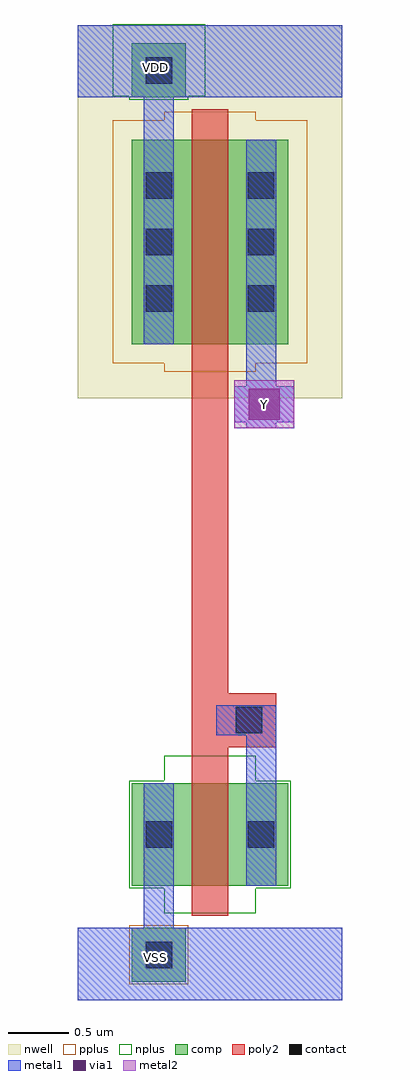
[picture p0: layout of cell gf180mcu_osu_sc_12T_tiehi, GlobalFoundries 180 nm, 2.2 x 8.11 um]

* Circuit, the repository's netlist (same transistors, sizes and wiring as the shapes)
.inc "../../char/techfiles/design.hspice"
.lib "../../char/techfiles/sm141064.hspice" typical

.GLOBAL VDD
.GLOBAL GND

.option scale=0.05u

.subckt gf180mcu_osu_sc_12T_tiehi Y
X0 Y a_19_11 VDD VDD pmos_3p3 w=34 l=6
X1 a_19_11 a_19_11 GND GND nmos_3p3 w=17 l=6
.ends

** hspice subcircuit dictionary

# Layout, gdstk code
import gdstk
lib = gdstk.Library(unit=1e-6, precision=1e-09)
def R(c, l, rs):  # rectangles x0, y0, x1, y1
    for r in rs: c.add(gdstk.rectangle(r[:2], r[2:], *l))
def A(c, l, x, y, w, h, nx, ny, dx, dy):  # array of equal rectangles
    R(c, l, [(x+i*dx, y+j*dy, x+i*dx+w, y+j*dy+h) for i in range(nx) for j in range(ny)])
nwell = (21, 0)
comp = (22, 0)
poly2 = (30, 0)
pplus = (31, 0)
nplus = (32, 0)
contact = (33, 0)
metal1 = (34, 0)
via1 = (35, 0)
metal2 = (36, 0)

gf180mcu_osu_sc_12t_tieh = lib.new_cell('gf180mcu_osu_sc_12T_tiehi')
R(gf180mcu_osu_sc_12t_tieh, nwell, [(0,5,2.2,8.1)])
R(gf180mcu_osu_sc_12t_tieh, comp, [(0.45,0.15,0.9,0.6), (0.45,0.95,1.75,1.8), (0.45,5.45,1.75,7.15), (0.45,7.5,0.9,7.95)])
R(gf180mcu_osu_sc_12t_tieh, poly2, [(0.95,0.7,1.25,2.1), (0.95,2.1,1.65,2.55), (0.95,2.55,1.25,7.4)])
R(gf180mcu_osu_sc_12t_tieh, pplus, [(0.43,0.13,0.92,0.62), (0.72,5.22,1.48,5.29), (0.29,5.29,1.91,7.31), (0.72,7.31,1.48,7.38)])
R(gf180mcu_osu_sc_12t_tieh, nplus, [(0.72,0.72,1.48,0.93), (0.43,0.93,1.77,1.82), (0.72,1.82,1.48,2.03), (0.43,7.48,0.92,7.51), (0.29,7.51,1.06,8.11)])
A(gf180mcu_osu_sc_12t_tieh, contact, 0.565, 5.72, 0.22, 0.22, 1, 3, 0, 0.47)
A(gf180mcu_osu_sc_12t_tieh, contact, 1.415, 5.72, 0.22, 0.22, 1, 3, 0, 0.47)
R(gf180mcu_osu_sc_12t_tieh, contact, [(0.565,0.265,0.785,0.485), (0.565,1.265,0.785,1.485), (1.415,1.265,1.635,1.485), (1.315,2.215,1.535,2.435), (0.565,7.615,0.785,7.835)])
R(gf180mcu_osu_sc_12t_tieh, metal1, [(0,0,2.2,0.6), (0.55,0.6,0.8,1.8), (1.4,0.95,1.65,2.2), (1.15,2.2,1.65,2.45), (1.4,4.75,1.65,4.8), (1.3,4.8,1.8,5.1), (1.4,5.1,1.65,7.15), (0.55,5.45,0.8,7.5), (0,7.5,2.2,8.1)])
R(gf180mcu_osu_sc_12t_tieh, via1, [(1.42,4.82,1.68,5.08)])
R(gf180mcu_osu_sc_12t_tieh, metal2, [(1.3,4.75,1.8,5.15)])
gf180mcu_osu_sc_12t_tieh.add(gdstk.Label('VDD', (0.65,7.75), layer=34, texttype=0))
gf180mcu_osu_sc_12t_tieh.add(gdstk.Label('VSS', (0.65,0.35), layer=34, texttype=0))
gf180mcu_osu_sc_12t_tieh.add(gdstk.Label('Y', (1.55,4.95), layer=36, texttype=10))

lib.write_gds('gf180mcu_osu_sc_12T_tiehi.gds')
